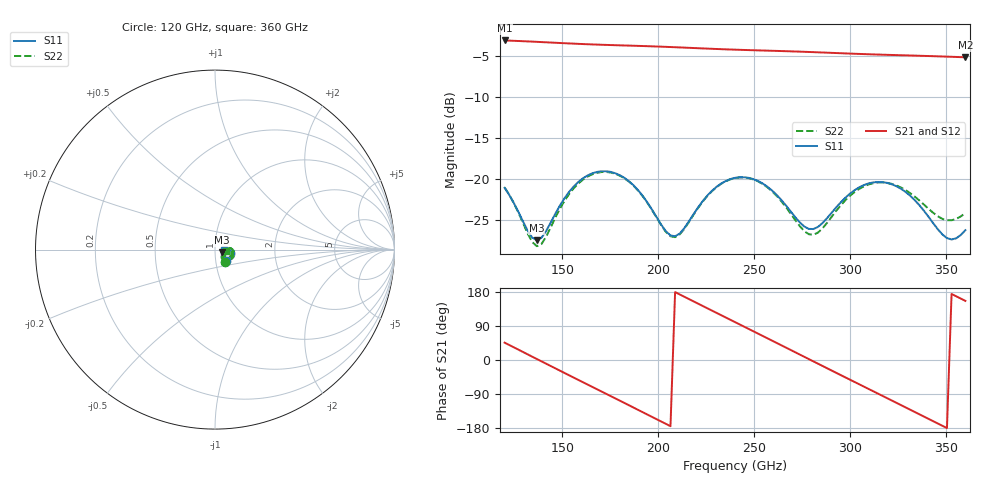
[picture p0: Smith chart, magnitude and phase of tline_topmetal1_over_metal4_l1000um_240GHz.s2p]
#  GHZ S DB R 50
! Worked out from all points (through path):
!   101 points, 120 GHz to 360 GHz, reference 50 ohm
!   highest |S21| = -3.10 dB at 120 GHz (marker M1); lowest = -5.2 dB at 360 GHz (marker M2)
!   group delay of S21, straight-line fit = 7.05 ps
!   lowest |S11| = -27.5 dB at 136.8 GHz (marker M3), VSWR 1.09, Z = 54.1 - j1.58 ohm
!   |S11| at or under -10 dB: start of sweep to end of sweep
!   |S22| runs from -28.2 to -19.1 dB; largest |S21 - S12| = 6.9e-14
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120  -21.06 -47.4  -3.10 45.8  -3.10 45.8  -21.02 -50.2
136.8  -27.46 -20.1  -3.27 2.6  -3.27 2.6  -28.17 -23.2
148.8  -23.22 8.2  -3.41 -28.1  -3.41 -28.1  -23.61 9.1
160.8  -19.90 -1.4  -3.54 -58.6  -3.54 -58.6  -20.07 -0.8
170.4  -19.05 -15.2  -3.62 -82.9  -3.62 -82.9  -19.14 -15.0
180  -19.52 -29.3  -3.69 -107.3  -3.69 -107.3  -19.58 -29.4
192  -22.07 -41.9  -3.78 -137.9  -3.78 -137.9  -22.11 -42.4
201.6  -25.57 -37.0  -3.86 -162.5  -3.86 -162.5  -25.63 -37.7
208.8  -26.97 -15.6  -3.93 179.2  -3.93 179.2  -27.08 -16.2
218.4  -24.28 5.2  -4.02 154.7  -4.02 154.7  -24.35 4.8
230.4  -20.94 0.4  -4.14 124.3  -4.14 124.3  -20.98 -0.2
240  -19.85 -11.5  -4.22 100.0  -4.22 100.0  -19.88 -12.2
256.8  -20.91 -32.7  -4.34 57.5  -4.34 57.5  -20.99 -34.1
268.8  -23.88 -37.1  -4.43 27.0  -4.43 27.0  -24.14 -39.3
280.8  -26.09 -15.8  -4.52 -3.6  -4.52 -3.6  -26.79 -15.8
290.4  -24.08 -0.4  -4.61 -27.9  -4.61 -27.9  -24.58 2.4
302.4  -21.33 -4.5  -4.72 -58.3  -4.72 -58.3  -21.56 -0.8
312  -20.40 -15.4  -4.80 -82.5  -4.80 -82.5  -20.50 -11.1
321.6  -20.63 -27.7  -4.87 -106.7  -4.87 -106.7  -20.58 -22.3
340.8  -24.60 -41.1  -5.00 -155.4  -5.00 -155.4  -23.61 -32.0
350.4  -27.19 -26.4  -5.07 -179.7  -5.07 -179.7  -25.02 -21.0
360  -26.22 -3.9  -5.15 156.0  -5.15 156.0  -24.14 -8.1
